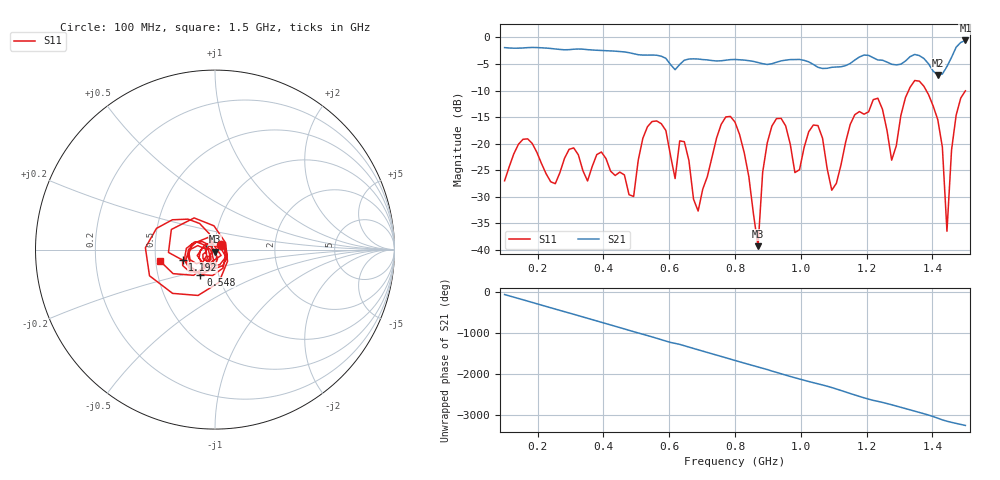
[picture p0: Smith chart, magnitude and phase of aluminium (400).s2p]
! NanoVNA-App
! Date: 2025-09-25 14:58:23
! Start: 100MHz Stop: 1,5GHz Points: 101
! S-Parameter data: F S11 S21 S12 S22
# Hz S RI R 50
!  Frequency  S11_Real  S11_Imag  S21_Real  S21_Imag  S12_Real  S12_Imag  S22_Real  S22_Imag
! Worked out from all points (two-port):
!   101 points, 100 MHz to 1.5 GHz, reference 50 ohm
!   highest |S21| = -0.58 dB at 1.5 GHz (marker M1); lowest = -7.1 dB at 1.416 GHz (marker M2)
!   |S21| within 3 dB of the highest: start of sweep to 577.5 MHz; 1.459 GHz to end of sweep (the widest 2 of 4)
!   lowest |S11| = -39.3 dB at 870 MHz (marker M3), VSWR 1.02, Z = 50.2 - j1.07 ohm
!   |S11| at or under -10 dB: start of sweep to 1.327 GHz; 1.381 GHz to end of sweep
!   S12 and S22 are empty: the file has one direction only
!   S11 on the Smith chart (normalised r, x): 100 MHz: 1.07, +0.06; 548 MHz: 0.82, -0.23; 1.192 GHz: 0.69, -0.08; 1.5 GHz: 0.53, -0.07
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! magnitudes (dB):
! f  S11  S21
! 100 MHz  -27.0  -1.9
! 156 MHz  -19.2  -2.0
! 338 MHz  -25.1  -2.2
! 492 MHz  -29.9  -3.1
! 548 MHz  -15.8  -3.3
! 576 MHz  -16.2  -3.5
! 646 MHz  -19.6  -4.3
! 688 MHz  -32.7  -4.1
! 800 MHz  -15.9  -4.2
! 870 MHz  -39.3  -4.7
! 912 MHz  -16.7  -5.0
! 982 MHz  -25.4  -4.2
! 1.038 GHz  -16.5  -5.1
! 1.094 GHz  -28.7  -5.6
! 1.192 GHz  -14.4  -3.3
! 1.234 GHz  -11.4  -4.3
! 1.276 GHz  -23.1  -5.1
! 1.346 GHz  -8.1  -3.2
! 1.416 GHz  -15.4  -7.1
! 1.444 GHz  -36.5  -5.5
! 1.458 GHz  -21.1  -3.7
! 1.5 GHz  -10.0  -0.6
